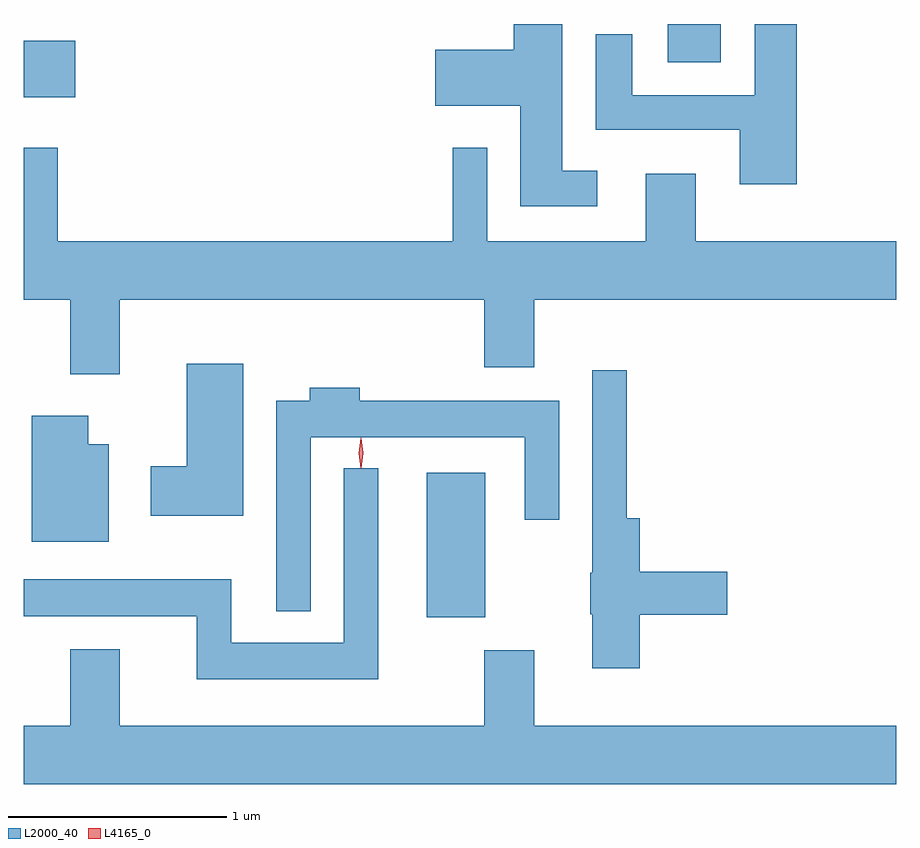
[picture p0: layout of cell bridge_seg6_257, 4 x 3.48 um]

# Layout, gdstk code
import gdstk
lib = gdstk.Library(unit=1e-6, precision=1e-09)
def R(c, l, rs):  # rectangles x0, y0, x1, y1
    for r in rs: c.add(gdstk.rectangle(r[:2], r[2:], *l))
def P(c, l, *ps):  # polygons
    for p in ps: c.add(gdstk.Polygon(p, *l))
L2000_40 = (2000, 40)
L4165_0 = (4165, 0)

bridge_seg6_257 = lib.new_cell('bridge_seg6_257')
R(bridge_seg6_257, L2000_40, [(1230.166,1590.761,1230.434,1591.424), (1228.319,1593.146,1228.554,1593.404), (1231.271,1593.306,1231.514,1593.481)])
P(bridge_seg6_257, L2000_40, [(1231.864,1593.481),(1231.671,1593.481),(1231.671,1593.154),(1231.109,1593.154),(1231.109,1593.433),(1230.941,1593.433),(1230.941,1592.996),(1231.601,1592.996),(1231.601,1592.746),(1231.864,1592.746)],
  [(1230.948,1592.809),(1230.789,1592.809),(1230.789,1593.481),(1230.566,1593.481),(1230.566,1593.364),(1230.206,1593.364),(1230.206,1593.106),(1230.596,1593.106),(1230.596,1592.646),(1230.948,1592.646)],
  [(1228.759,1592.216),(1230.431,1592.216),(1230.431,1591.906),(1230.659,1591.906),(1230.659,1592.216),(1232.319,1592.216),(1232.319,1592.484),(1231.399,1592.484),(1231.399,1592.794),(1231.171,1592.794),(1231.171,1592.484),(1230.444,1592.484),(1230.444,1592.913),(1230.286,1592.913),(1230.286,1592.484),(1228.474,1592.484),(1228.474,1592.913),(1228.319,1592.913),(1228.319,1592.216),(1228.531,1592.216),(1228.531,1591.876),(1228.759,1591.876)],
  [(1229.324,1591.924),(1229.066,1591.924),(1229.066,1591.454),(1228.901,1591.454),(1228.901,1591.226),(1229.324,1591.226)],
  [(1231.144,1590.771),(1231.544,1590.771),(1231.544,1590.969),(1231.144,1590.969),(1231.144,1591.214),(1231.084,1591.214),(1231.084,1591.893),(1230.926,1591.893),(1230.926,1590.965),(1230.916,1590.965),(1230.916,1590.775),(1230.926,1590.775),(1230.926,1590.526),(1231.144,1590.526)],
  [(1229.634,1591.586),(1230.616,1591.586),(1230.616,1591.208),(1230.774,1591.208),(1230.774,1591.754),(1229.859,1591.754),(1229.859,1591.814),(1229.631,1591.814),(1229.631,1591.754),(1229.476,1591.754),(1229.476,1590.788),(1229.634,1590.788)],
  [(1228.709,1591.554),(1228.614,1591.554),(1228.614,1591.684),(1228.356,1591.684),(1228.356,1591.106),(1228.709,1591.106)],
  [(1229.944,1591.443),(1229.786,1591.443),(1229.786,1590.644),(1229.269,1590.644),(1229.269,1590.934),(1228.319,1590.934),(1228.319,1590.766),(1229.111,1590.766),(1229.111,1590.476),(1229.944,1590.476)],
  [(1232.319,1590.264),(1230.659,1590.264),(1230.659,1590.609),(1230.431,1590.609),(1230.431,1590.264),(1228.759,1590.264),(1228.759,1590.614),(1228.531,1590.614),(1228.531,1590.264),(1228.319,1590.264),(1228.319,1589.996),(1232.319,1589.996)])
P(bridge_seg6_257, L4165_0, [(1229.866,1591.447),(1229.866,1591.447),(1229.856,1591.514),(1229.866,1591.58),(1229.866,1591.58),(1229.866,1591.58),(1229.876,1591.514),(1229.866,1591.447)],
  [(1229.864,1591.444),(1229.855,1591.513),(1229.864,1591.582),(1229.865,1591.583),(1229.866,1591.582),(1229.875,1591.513),(1229.866,1591.444),(1229.865,1591.444)])

lib.write_gds('bridge_seg6_257.gds')
